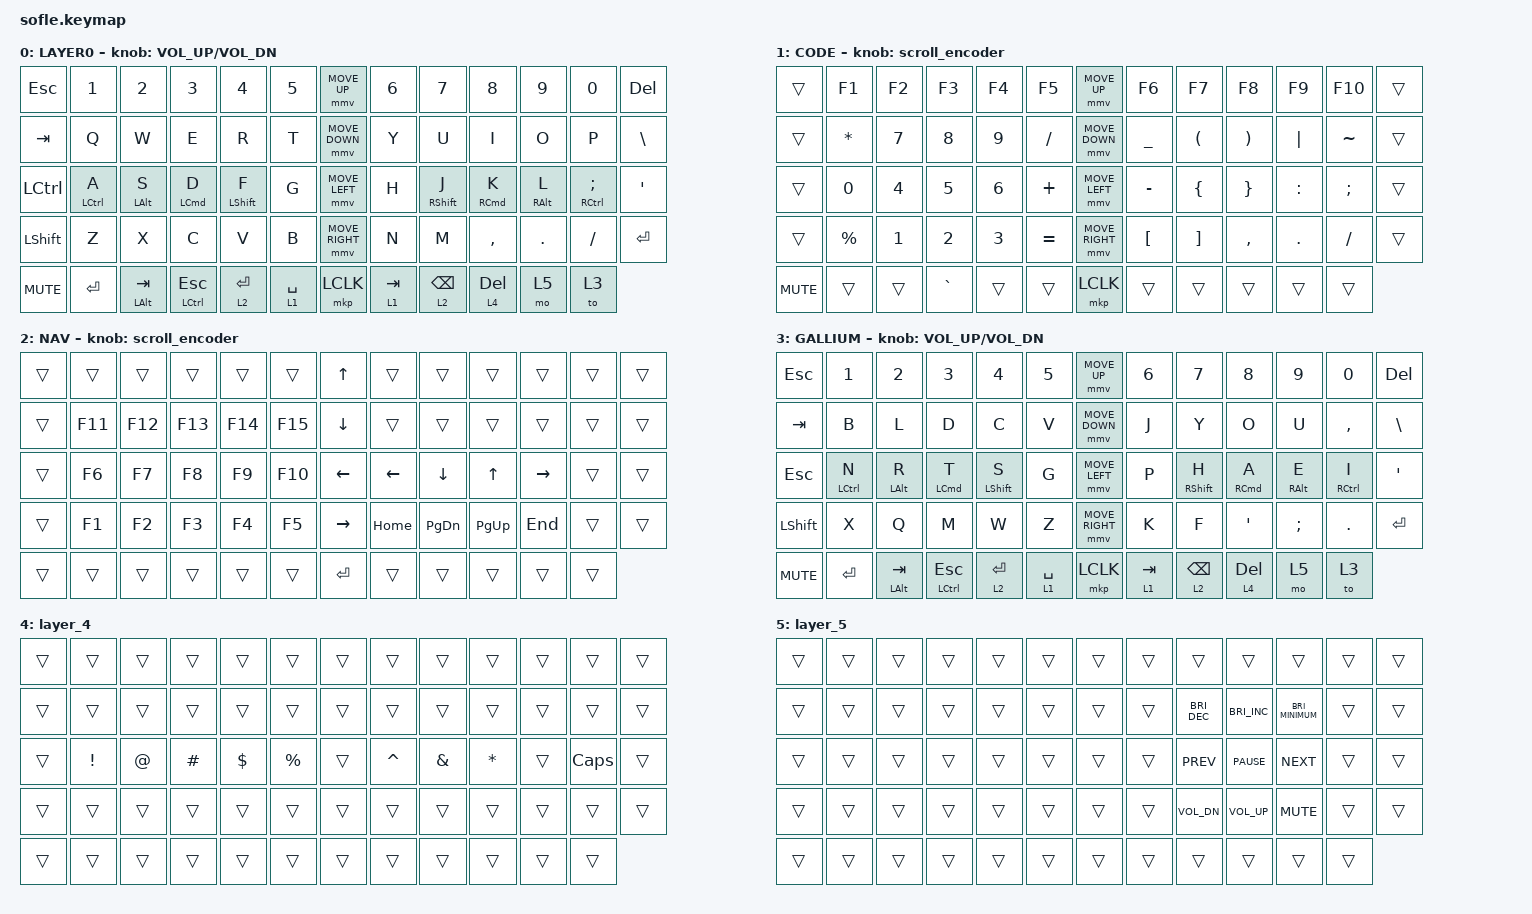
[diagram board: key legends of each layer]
#include <behaviors/mouse_keys.dtsi>
#include <dt-bindings/zmk/mouse.h>
#include <behaviors.dtsi>
#include <dt-bindings/zmk/keys.h>

#define ZMK_MOUSE_DEFAULT_MOVE_VAL 1200  // 600
#define ZMK_MOUSE_DEFAULT_SCRL_VAL 20    // 10
#define U_MS_U &mmv MOVE_UP
#define U_MS_D &mmv MOVE_DOWN
#define U_MS_L &mmv MOVE_LEFT
#define U_MS_R &mmv MOVE_RIGHT
#define ZMK_MOUSE_DEFAULT_MOVE_VAL 1200  //  600
#define ZMK_MOUSE_DEFAULT_SCRL_VAL 20    // 10

&mt {
    compatible = "zmk,behavior-hold-tap";
    #binding-cells = <2>;
    flavor = "balanced";
    tapping-term-ms = <200>;
    quick-tap-ms = <0>;
    bindings = <&kp>, <&kp>;
};

/ {
    behaviors {
        mmv {
            acceleration-exponent = <1>;      // 1
            time-to-max-speed-ms = <900>;    // 40
            delay-ms = <0>;                   // 0
        };

        msc {
            acceleration-exponent = <1>;      // 0
            time-to-max-speed-ms = <400>;      // 500
            delay-ms = <0>;                   //   10
        };
    };

    scroll_encoder: scroll_encoder {
        compatible = "zmk,behavior-sensor-rotate";
        #sensor-binding-cells = <0>;
        bindings = <&msc SCRL_DOWN>, <&msc SCRL_UP>;

        tap-ms = <30>;
    };

    slt: spacebar_layer_tap {
        compatible = "zmk,behavior-hold-tap";
        label = "SPACE_LAYER_TAP";
        #binding-cells = <2>;
        flavor = "tap-preferred";
        tapping-term-ms = <200>;
        quick-tap-ms = <125>;
        global-quick-tap;
        bindings = <&mo>, <&kp>;
    };

    keymap {
        compatible = "zmk,keymap";

        layer0 {
            bindings = <
&kp ESC     &kp N1       &kp N2            &kp N3         &kp N4            &kp N5          &mmv MOVE_UP     &kp N6      &kp N7             &kp N8      &kp N9           &kp N0       &kp DELETE
&kp TAB     &kp Q        &kp W             &kp E          &kp R             &kp T           &mmv MOVE_DOWN   &kp Y       &kp U              &kp I       &kp O            &kp P    &kp BSLH
&kp LCTRL     &mt LCTRL A  &mt LEFT_ALT S    &mt LCMD D     &mt LEFT_SHIFT F  &kp G           &mmv MOVE_LEFT   &kp H       &mt RIGHT_SHIFT J  &mt RCMD K  &mt RIGHT_ALT L  &mt RCTRL SEMI  &kp APOS
&kp LSHFT   &kp Z        &kp X             &kp C          &kp V             &kp B           &mmv MOVE_RIGHT  &kp N       &kp M              &kp COMMA     &kp PERIOD         &kp SLASH   &kp ENTER
&kp C_MUTE  &kp ENTER    &mt LEFT_ALT TAB  &mt LCTRL ESC  &lt 2 RET         &slt 1 SPACE    &mkp LCLK        &slt 1 TAB  &lt 2 BACKSPACE    &lt 4 DEL   &mo 5            &to 3
            >;

            sensor-bindings = <&inc_dec_kp C_VOLUME_UP C_VOL_DN>;
            display-name = "LAYER0";
        };

        layer_1 {
            bindings = <
&trans      &kp F1       &kp F2  &kp F3     &kp F4  &kp F5       &mmv MOVE_UP     &kp F6     &kp F7    &kp F8     &kp F9      &kp F10    &trans
&trans      &kp STAR     &kp N7  &kp N8     &kp N9  &kp SLASH    &mmv MOVE_DOWN   &kp UNDER  &kp LPAR  &kp RPAR   &kp PIPE    &kp TILDE  &trans
&trans      &kp N0       &kp N4  &kp N5     &kp N6  &kp PLUS     &mmv MOVE_LEFT   &kp MINUS  &kp LBRC  &kp RBRC   &kp COLON   &kp SEMI   &trans
&trans      &kp PERCENT  &kp N1  &kp N2     &kp N3  &kp EQUAL    &mmv MOVE_RIGHT  &kp LBKT   &kp RBKT  &kp COMMA  &kp PERIOD  &kp SLASH  &trans
&kp C_MUTE  &trans       &trans  &kp GRAVE  &trans  &trans       &mkp LCLK        &trans     &trans    &trans     &trans      &trans
            >;

            display-name = "CODE";
            sensor-bindings = <&scroll_encoder>;
        };

        layer_2 {
            bindings = <
&trans  &trans   &trans   &trans   &trans   &trans     &kp UP_ARROW  &trans    &trans     &trans     &trans     &trans  &trans
&trans  &kp F11  &kp F12  &kp F13  &kp F14  &kp F15    &kp DOWN      &trans    &trans     &trans     &trans     &trans  &trans
&trans  &kp F6   &kp F7   &kp F8   &kp F9   &kp F10    &kp LEFT      &kp LEFT  &kp DOWN   &kp UP     &kp RIGHT  &trans  &trans
&trans  &kp F1   &kp F2   &kp F3   &kp F4   &kp F5     &kp RIGHT     &kp HOME  &kp PG_DN  &kp PG_UP  &kp END    &trans  &trans
&trans  &trans   &trans   &trans   &trans   &trans     &kp RET       &trans    &trans     &trans     &trans     &trans
            >;

            display-name = "NAV";
            sensor-bindings = <&scroll_encoder>;
        };

        layer_3 {
            display-name = "GALLIUM";
            bindings = <
&kp ESC     &kp N1       &kp N2            &kp N3         &kp N4            &kp N5          &mmv MOVE_UP     &kp N6      &kp N7             &kp N8      &kp N9           &kp N0       &kp DELETE
&kp TAB     &kp B        &kp L             &kp D          &kp C             &kp V           &mmv MOVE_DOWN   &kp J       &kp Y              &kp O       &kp U            &kp COMMA    &kp BSLH
&kp ESC     &mt LCTRL N  &mt LEFT_ALT R    &mt LCMD T     &mt LEFT_SHIFT S  &kp G           &mmv MOVE_LEFT   &kp P       &mt RIGHT_SHIFT H  &mt RCMD A  &mt RIGHT_ALT E  &mt RCTRL I  &kp APOS
&kp LSHFT   &kp X        &kp Q             &kp M          &kp W             &kp Z           &mmv MOVE_RIGHT  &kp K       &kp F              &kp SQT     &kp SEMI         &kp PERIOD   &kp ENTER
&kp C_MUTE  &kp ENTER    &mt LEFT_ALT TAB  &mt LCTRL ESC  &lt 2 RET         &slt 1 SPACE    &mkp LCLK        &slt 1 TAB  &lt 2 BACKSPACE    &lt 4 DEL   &mo 5            &to 3
            >;

            sensor-bindings = <&inc_dec_kp C_VOLUME_UP C_VOL_DN>;
        };

        layer_4 {
            bindings = <
&trans  &trans    &trans  &trans    &trans      &trans         &trans  &trans     &trans    &trans    &trans  &trans        &trans
&trans  &trans    &trans  &trans    &trans      &trans         &trans  &trans     &trans    &trans    &trans  &trans        &trans
&trans  &kp EXCL  &kp AT  &kp HASH  &kp DOLLAR  &kp PERCENT    &trans  &kp CARET  &kp AMPS  &kp STAR  &trans  &kp CAPSLOCK  &trans
&trans  &trans    &trans  &trans    &trans      &trans         &trans  &trans     &trans    &trans    &trans  &trans        &trans
&trans  &trans    &trans  &trans    &trans      &trans         &trans  &trans     &trans    &trans    &trans  &trans
            >;
        };

        layer_5 {
            bindings = <
&trans  &trans  &trans  &trans  &trans  &trans    &trans  &trans  &trans                &trans                &trans                    &trans  &trans
&trans  &trans  &trans  &trans  &trans  &trans    &trans  &trans  &kp C_BRIGHTNESS_DEC  &kp C_BRIGHTNESS_INC  &kp C_BRIGHTNESS_MINIMUM  &trans  &trans
&trans  &trans  &trans  &trans  &trans  &trans    &trans  &trans  &kp C_PREV            &kp C_PAUSE           &kp C_NEXT                &trans  &trans
&trans  &trans  &trans  &trans  &trans  &trans    &trans  &trans  &kp C_VOL_DN          &kp C_VOL_UP          &kp C_MUTE                &trans  &trans
&trans  &trans  &trans  &trans  &trans  &trans    &trans  &trans  &trans                &trans                &trans                    &trans
            >;
        };
    };
};
